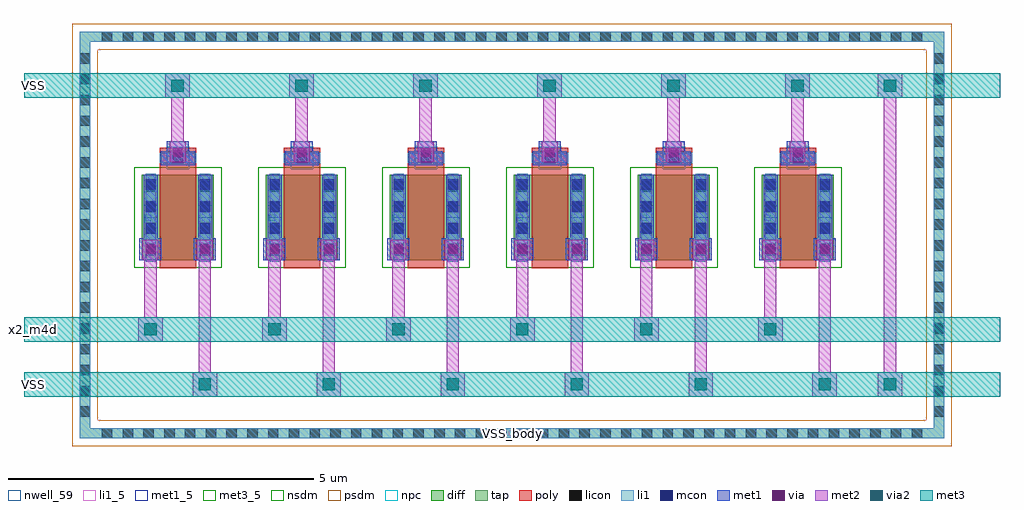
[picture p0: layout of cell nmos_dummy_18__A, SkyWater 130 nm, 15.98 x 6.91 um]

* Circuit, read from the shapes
.subckt nmos_dummy_18__A VSS VSS_body x2_m4d
XM1 VSS VSS x2_m4d VSS_body sky130_fd_pr__nfet_01v8 w=1.4 l=0.6 m=6
.ends

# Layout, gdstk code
import gdstk
lib = gdstk.Library(unit=1e-6, precision=1e-09)
def R(c, l, rs):  # rectangles x0, y0, x1, y1
    for r in rs: c.add(gdstk.rectangle(r[:2], r[2:], *l))
def A(c, l, x, y, w, h, nx, ny, dx, dy):  # array of equal rectangles
    R(c, l, [(x+i*dx, y+j*dy, x+i*dx+w, y+j*dy+h) for i in range(nx) for j in range(ny)])
nwell_59 = (64, 59)
diff = (65, 20)
tap = (65, 44)
poly = (66, 20)
licon = (66, 44)
li1_5 = (67, 5)
li1 = (67, 20)
mcon = (67, 44)
met1_5 = (68, 5)
met1 = (68, 20)
via = (68, 44)
met2 = (69, 20)
via2 = (69, 44)
met3_5 = (70, 5)
met3 = (70, 20)
nsdm = (93, 44)
psdm = (94, 20)
npc = (95, 20)

sky130_fd_pr__nfet_01v8_ = lib.new_cell('sky130_fd_pr__nfet_01v8_RUA5M6')
R(sky130_fd_pr__nfet_01v8_, diff, [(-0.59,-0.855,0.59,0.545)])
R(sky130_fd_pr__nfet_01v8_, poly, [(-0.3,-0.985,0.3,0.985)])
A(sky130_fd_pr__nfet_01v8_, licon, -0.53, -0.75, 0.17, 0.17, 1, 4, 0, 0.34)
A(sky130_fd_pr__nfet_01v8_, licon, 0.36, -0.75, 0.17, 0.17, 1, 4, 0, 0.34)
R(sky130_fd_pr__nfet_01v8_, licon, [(-0.085,0.735,0.085,0.905)])
R(sky130_fd_pr__nfet_01v8_, li1, [(-0.53,-0.875,-0.36,0.565), (0.36,-0.875,0.53,0.565), (-0.3,0.735,0.3,0.905)])
A(sky130_fd_pr__nfet_01v8_, mcon, -0.53, -0.78, 0.17, 0.17, 1, 4, 0, 0.36)
A(sky130_fd_pr__nfet_01v8_, mcon, 0.36, -0.78, 0.17, 0.17, 1, 4, 0, 0.36)
R(sky130_fd_pr__nfet_01v8_, mcon, [(-0.085,0.735,0.085,0.905)])
R(sky130_fd_pr__nfet_01v8_, met1, [(-0.56,-0.855,-0.33,0.545), (0.33,-0.855,0.56,0.545), (-0.28,0.705,0.28,0.935)])
R(sky130_fd_pr__nfet_01v8_, nsdm, [(-0.715,-0.98,0.715,0.67)])
R(sky130_fd_pr__nfet_01v8_, npc, [(-0.185,0.635,0.185,1.005)])
sky130_fd_pr__nfet_01v8_.add(gdstk.Label('D', (-0.445,-0.155), layer=67, texttype=5))
sky130_fd_pr__nfet_01v8_.add(gdstk.Label('S', (0.445,-0.155), layer=67, texttype=5))
sky130_fd_pr__nfet_01v8_.add(gdstk.Label('G', (0,0.82), layer=67, texttype=5))

nfet_01v8_w1p4_l0p6_m6__ = lib.new_cell('nfet_01v8_W1p4_L0p6_m6__nf1_gtop_sdfull_ng')
R(nfet_01v8_w1p4_l0p6_m6__, nwell_59, [(0.05,0.78,0.15,0.88)])
R(nfet_01v8_w1p4_l0p6_m6__, met1_5, [(0.03,0.83,0.26,1.03), (0.92,0.83,1.15,1.03), (0.31,1.69,0.87,1.92)])
R(nfet_01v8_w1p4_l0p6_m6__, met1, [(0.03,0.83,0.26,1.03), (0.92,0.83,1.15,1.03), (0.31,1.69,0.87,1.92)])
nfet_01v8_w1p4_l0p6_m6__.add(gdstk.Reference(sky130_fd_pr__nfet_01v8_, (0.59,0.985)))
nfet_01v8_w1p4_l0p6_m6__.add(gdstk.Label('D', (0.145,0.93), layer=68, texttype=5))
nfet_01v8_w1p4_l0p6_m6__.add(gdstk.Label('S', (1.035,0.93), layer=68, texttype=5))
nfet_01v8_w1p4_l0p6_m6__.add(gdstk.Label('G', (0.59,1.805), layer=68, texttype=5))
nfet_01v8_w1p4_l0p6_m6__.add(gdstk.Label('B', (0.1,0.83), layer=64, texttype=59))

nmos_dummy_18__a = lib.new_cell('nmos_dummy_18__A')
R(nmos_dummy_18__a, tap, [(-0.885,-2.785,13.265,-2.615), (-0.885,-2.615,-0.715,3.705), (13.095,-2.615,13.265,3.705), (-0.885,3.705,13.265,3.875)])
A(nmos_dummy_18__a, licon, -0.525, -2.785, 0.17, 0.17, 40, 2, 0.34, 6.49)
A(nmos_dummy_18__a, licon, -0.885, -2.43, 0.17, 0.17, 1, 18, 0, 0.34)
A(nmos_dummy_18__a, licon, 13.095, -2.43, 0.17, 0.17, 1, 18, 0, 0.34)
R(nmos_dummy_18__a, li1_5, [(6.14,-2.75,6.24,-2.65)])
R(nmos_dummy_18__a, li1, [(-0.885,-2.785,13.265,-2.615), (-0.885,-2.615,-0.715,3.705), (13.095,-2.615,13.265,3.705), (-0.885,3.705,13.265,3.875)])
A(nmos_dummy_18__a, met1, 0.535, 1.72, 0.36, 0.36, 6, 1, 2.03, 0)
R(nmos_dummy_18__a, met1, [(0.09,0.13,0.45,0.49), (0.98,0.13,1.34,0.49), (2.12,0.13,2.48,0.49), (3.01,0.13,3.37,0.49), (4.15,0.13,4.51,0.49), (5.04,0.13,5.4,0.49), (6.18,0.13,6.54,0.49), (7.07,0.13,7.43,0.49), (8.21,0.13,8.57,0.49), (9.1,0.13,9.46,0.49), (10.24,0.13,10.6,0.49), (11.13,0.13,11.49,0.49)])
A(nmos_dummy_18__a, via, 0.64, 1.825, 0.15, 0.15, 6, 1, 2.03, 0)
R(nmos_dummy_18__a, via, [(0.195,0.235,0.345,0.385), (1.085,0.235,1.235,0.385), (2.225,0.235,2.375,0.385), (3.115,0.235,3.265,0.385), (4.255,0.235,4.405,0.385), (5.145,0.235,5.295,0.385), (6.285,0.235,6.435,0.385), (7.175,0.235,7.325,0.385), (8.315,0.235,8.465,0.385), (9.205,0.235,9.355,0.385), (10.345,0.235,10.495,0.385), (11.235,0.235,11.385,0.385)])
A(nmos_dummy_18__a, met2, 0.96, -2.1, 0.4, 0.4, 6, 1, 2.03, 0)
A(nmos_dummy_18__a, met2, 1.06, -1.7, 0.2, 1.85, 6, 1, 2.03, 0)
A(nmos_dummy_18__a, met2, 0.07, -1.2, 0.4, 0.4, 6, 1, 2.03, 0)
A(nmos_dummy_18__a, met2, 0.17, -0.8, 0.2, 0.95, 6, 1, 2.03, 0)
A(nmos_dummy_18__a, met2, 0.585, 1.74, 0.26, 0.32, 6, 1, 2.03, 0)
A(nmos_dummy_18__a, met2, 0.615, 2.06, 0.2, 0.73, 6, 1, 2.03, 0)
A(nmos_dummy_18__a, met2, 0.515, 2.79, 0.4, 0.4, 6, 1, 2.03, 0)
R(nmos_dummy_18__a, met2, [(12.18,-2.1,12.58,-1.7), (12.28,-1.7,12.48,2.79), (0.14,0.15,0.4,0.47), (1.03,0.15,1.29,0.47), (2.17,0.15,2.43,0.47), (3.06,0.15,3.32,0.47), (4.2,0.15,4.46,0.47), (5.09,0.15,5.35,0.47), (6.23,0.15,6.49,0.47), (7.12,0.15,7.38,0.47), (8.26,0.15,8.52,0.47), (9.15,0.15,9.41,0.47), (10.29,0.15,10.55,0.47), (11.18,0.15,11.44,0.47), (12.18,2.79,12.58,3.19)])
A(nmos_dummy_18__a, via2, 1.06, -2, 0.2, 0.2, 6, 1, 2.03, 0)
A(nmos_dummy_18__a, via2, 0.17, -1.1, 0.2, 0.2, 6, 1, 2.03, 0)
A(nmos_dummy_18__a, via2, 0.615, 2.89, 0.2, 0.2, 6, 1, 2.03, 0)
R(nmos_dummy_18__a, via2, [(12.28,-2,12.48,-1.8), (12.28,2.89,12.48,3.09)])
R(nmos_dummy_18__a, met3_5, [(-1.7,-1.95,-1.6,-1.85), (-1.7,-1.05,-1.6,-0.95), (-1.7,2.94,-1.6,3.04)])
R(nmos_dummy_18__a, met3, [(-1.8,-2.1,14.18,-1.7), (-1.8,-1.2,14.18,-0.8), (-1.8,2.79,14.18,3.19)])
R(nmos_dummy_18__a, psdm, [(-1.01,-2.91,13.39,-2.49), (-1.01,-2.49,-0.59,3.58), (12.97,-2.49,13.39,3.58), (-1.01,3.58,13.39,4)])
nmos_dummy_18__a.add(gdstk.Reference(nfet_01v8_w1p4_l0p6_m6__, (10.28,0)))
nmos_dummy_18__a.add(gdstk.Reference(nfet_01v8_w1p4_l0p6_m6__, (8.25,0)))
nmos_dummy_18__a.add(gdstk.Reference(nfet_01v8_w1p4_l0p6_m6__, (6.22,0)))
nmos_dummy_18__a.add(gdstk.Reference(nfet_01v8_w1p4_l0p6_m6__, (4.19,0)))
nmos_dummy_18__a.add(gdstk.Reference(nfet_01v8_w1p4_l0p6_m6__, (2.16,0)))
nmos_dummy_18__a.add(gdstk.Reference(nfet_01v8_w1p4_l0p6_m6__, (0.13,0)))
nmos_dummy_18__a.add(gdstk.Label('VSS', (-1.65,2.99), layer=70, texttype=5))
nmos_dummy_18__a.add(gdstk.Label('x2_m4d', (-1.65,-1), layer=70, texttype=5))
nmos_dummy_18__a.add(gdstk.Label('VSS', (-1.65,-1.9), layer=70, texttype=5))
nmos_dummy_18__a.add(gdstk.Label('VSS_body', (6.19,-2.7), layer=67, texttype=5))

lib.write_gds('nmos_dummy_18__A.gds')
